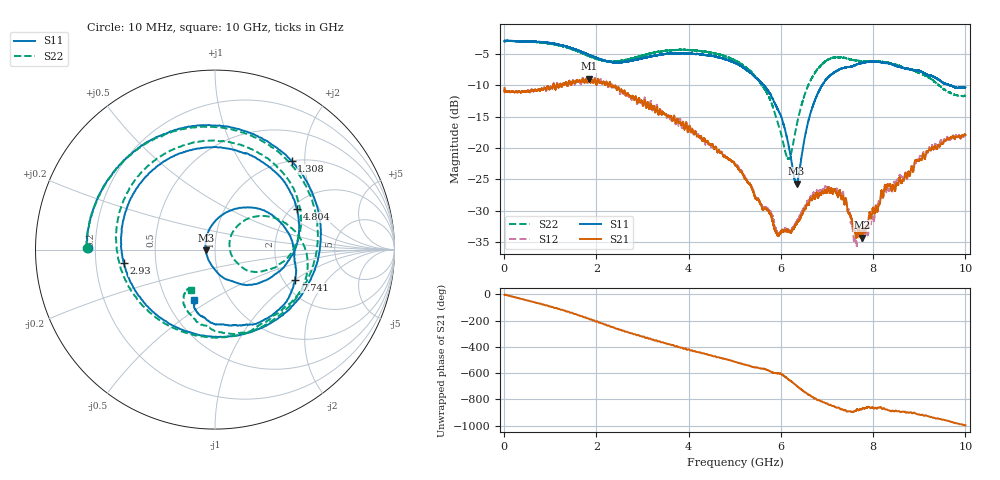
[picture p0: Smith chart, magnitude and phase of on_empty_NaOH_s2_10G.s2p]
!Agilent Technologies,E8362C,MY43020457,A.09.42.15
!Agilent E8362C: A.09.42.15
!Date: Friday, March 13, 2026 15:05:38
!Correction: S11(Full 2 Port(1,2))
!S21(Full 2 Port(1,2))
!S12(Full 2 Port(1,2))
!S22(Full 2 Port(1,2))
!S2P File: Measurements: S11, S21, S12, S22:
# Hz S  dB  R 50
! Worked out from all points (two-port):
!   20001 points, 10 MHz to 10 GHz, reference 50 ohm
!   highest |S21| = -8.91 dB at 1.84 GHz (marker M1); lowest = -34.3 dB at 7.761 GHz (marker M2)
!   |S21| within 3 dB of the highest: start of sweep to 2.741 GHz; 2.768 GHz to 2.802 GHz (33.77 MHz wide, 1.21 % of centre)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
!   lowest |S11| = -25.7 dB at 6.339 GHz (marker M3), VSWR 1.11, Z = 45.1 - j0.451 ohm
!   |S11| at or under -10 dB: 5.629 GHz to 6.893 GHz (1.264 GHz wide, 20.2 % of centre); 9.682805 GHz to 9.683913 GHz (1.107 MHz wide, 0.0114 % of centre); 9.688 GHz to end of sweep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
!   |S22| runs from -21.8 to -2.9 dB; largest |S21 - S12| = 0.021
!   S11 on the Smith chart (normalised r, x): 10 MHz: 0.17, +0.01; 1.308 GHz: 1.00, +1.73; 2.93 GHz: 0.32, -0.07; 4.804 GHz: 2.13, +1.31; 7.741 GHz: 2.31, -1.00; 10 GHz: 0.68, -0.42
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1e7  -3.00 179.4  -10.43 -2.6  -10.84 -1.8  -2.91 179.1
7.787305e8  -3.06 107.3  -10.80 -71.3  -10.77 -71.3  -3.10 110.1
1.3082e9  -3.71 49.1  -9.82 -124.0  -9.94 -123.8  -3.85 52.9
1.675333e9  -4.64 2.1  -9.46 -165.5  -9.69 -163.0  -4.82 5.6
1.839668e9  -5.13 -20.4  -8.91 173.0  -8.88 175.1  -5.31 -18.0
2.336671e9  -6.28 -92.8  -10.26 112.4  -9.88 110.8  -6.19 -93.6
2.929578e9  -5.77 -171.7  -12.06 44.9  -12.09 45.1  -5.39 -172.5
3.340166e9  -5.16 143.8  -14.56 1.6  -14.52 -0.5  -4.63 143.6
3.987518e9  -4.89 86.4  -17.44 -58.7  -17.45 -60.1  -4.36 88.1
4.803702e9  -5.85 26.5  -21.44 -133.3  -21.35 -133.9  -5.41 30.6
5.005e9  -6.39 11.8  -22.64 -154.1  -22.57 -153.0  -5.97 16.9
5.692812e9  -10.55 -40.3  -29.81 146.2  -29.61 144.5  -11.14 -26.5
6.146358e9  -18.84 -89.1  -33.14 77.1  -33.08 72.5  -21.61 -0.1
6.339164e9  -25.70 -174.5  -32.10 24.1  -31.74 22.5  -16.45 45.6
6.670333e9  -13.78 76.3  -28.31 -59.0  -27.73 -59.1  -8.83 30.0
7.310192e9  -7.31 7.2  -28.07 -154.6  -27.52 -156.7  -5.52 -24.8
7.606396e9  -6.79 -11.7  -33.42 -168.3  -34.41 -168.8  -5.99 -42.1
7.740762e9  -6.44 -20.5  -33.37 -155.6  -33.29 -161.6  -6.16 -48.5
7.760742e9  -6.42 -21.9  -34.28 -151.1  -34.69 -158.3  -6.16 -49.5
8.335166e9  -6.50 -59.1  -26.06 -163.0  -26.77 -159.2  -6.39 -78.3
9.212288e9  -8.39 -100.3  -20.22 150.3  -19.92 149.8  -8.78 -116.8
1e10  -10.31 -112.7  -17.91 81.9  -18.02 81.0  -11.61 -121.2
